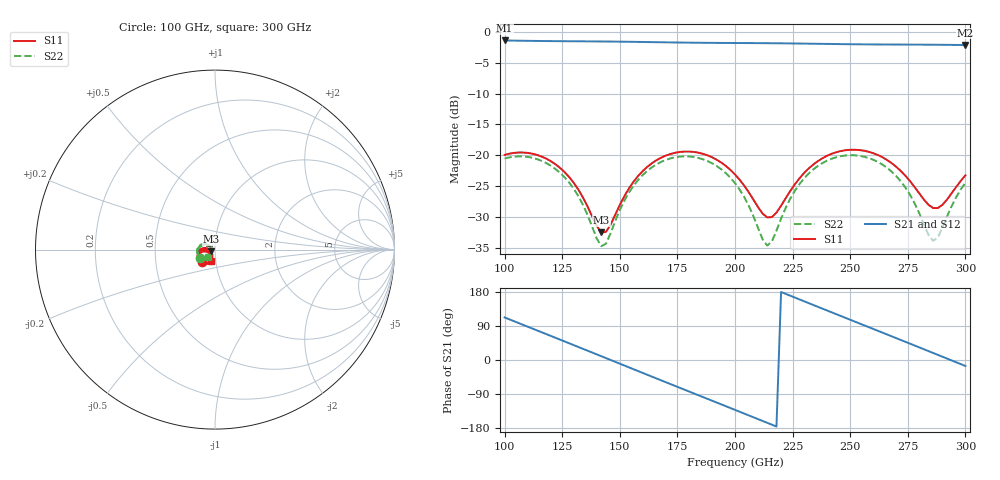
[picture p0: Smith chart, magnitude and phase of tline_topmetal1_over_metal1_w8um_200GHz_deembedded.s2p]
! Created with skrf 2.0.1 (http://scikit-rf.org).
# GHz S DB R 50.0
!freq dBS11 angS11 dBS21 angS21 dBS12 angS12 dBS22 angS22
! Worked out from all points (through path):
!   101 points, 100 GHz to 300 GHz, reference 50 ohm
!   highest |S21| = -1.38 dB at 100 GHz (marker M1); lowest = -2.1 dB at 300 GHz (marker M2)
!   group delay of S21, straight-line fit = 6.78 ps
!   lowest |S11| = -32.5 dB at 142 GHz (marker M3), VSWR 1.05, Z = 47.8 - j0.874 ohm
!   |S11| at or under -10 dB: start of sweep to end of sweep
!   |S22| runs from -34.7 to -20.0 dB; largest |S21 - S12| = 9.2e-14
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100  -19.93 -136.3  -1.38 112.3  -1.38 112.3  -20.52 -149.9
108  -19.54 -152.4  -1.43 92.8  -1.43 92.8  -20.18 -167.4
116  -20.19 -167.9  -1.47 73.4  -1.47 73.4  -20.88 175.5
126  -22.70 175.5  -1.50 49.0  -1.50 49.0  -23.54 156.6
134  -26.82 170.4  -1.53 29.5  -1.53 29.5  -28.01 149.2
142  -32.49 -157.4  -1.55 9.9  -1.55 9.9  -34.72 -174.1
146  -31.24 -125.3  -1.56 0.1  -1.56 0.1  -32.63 -137.6
156  -24.25 -110.6  -1.61 -24.4  -1.61 -24.4  -24.91 -128.4
168  -20.37 -127.1  -1.68 -53.8  -1.68 -53.8  -21.05 -148.8
184  -19.56 -155.4  -1.76 -92.7  -1.76 -92.7  -20.41 178.4
200  -23.10 -177.9  -1.80 -131.6  -1.80 -131.6  -24.51 149.8
214  -30.06 -150.2  -1.83 -165.8  -1.83 -165.8  -34.62 -173.3
218  -29.28 -126.6  -1.84 -175.6  -1.84 -175.6  -32.20 -138.7
226  -24.68 -110.2  -1.87 164.7  -1.87 164.7  -25.73 -129.0
234  -21.48 -115.6  -1.91 145.2  -1.91 145.2  -22.28 -140.0
244  -19.49 -130.0  -1.97 120.8  -1.97 120.8  -20.30 -159.0
252  -19.09 -143.1  -2.00 101.4  -2.00 101.4  -19.99 -175.2
268  -21.27 -166.2  -2.04 62.5  -2.04 62.5  -22.65 154.5
276  -24.20 -170.3  -2.06 43.0  -2.06 43.0  -26.42 145.7
286  -28.54 -144.5  -2.08 18.5  -2.08 18.5  -33.84 -176.1
290  -28.03 -124.6  -2.09 8.7  -2.09 8.7  -31.76 -143.0
300  -23.23 -107.4  -2.13 -15.7  -2.13 -15.7  -24.44 -133.8
